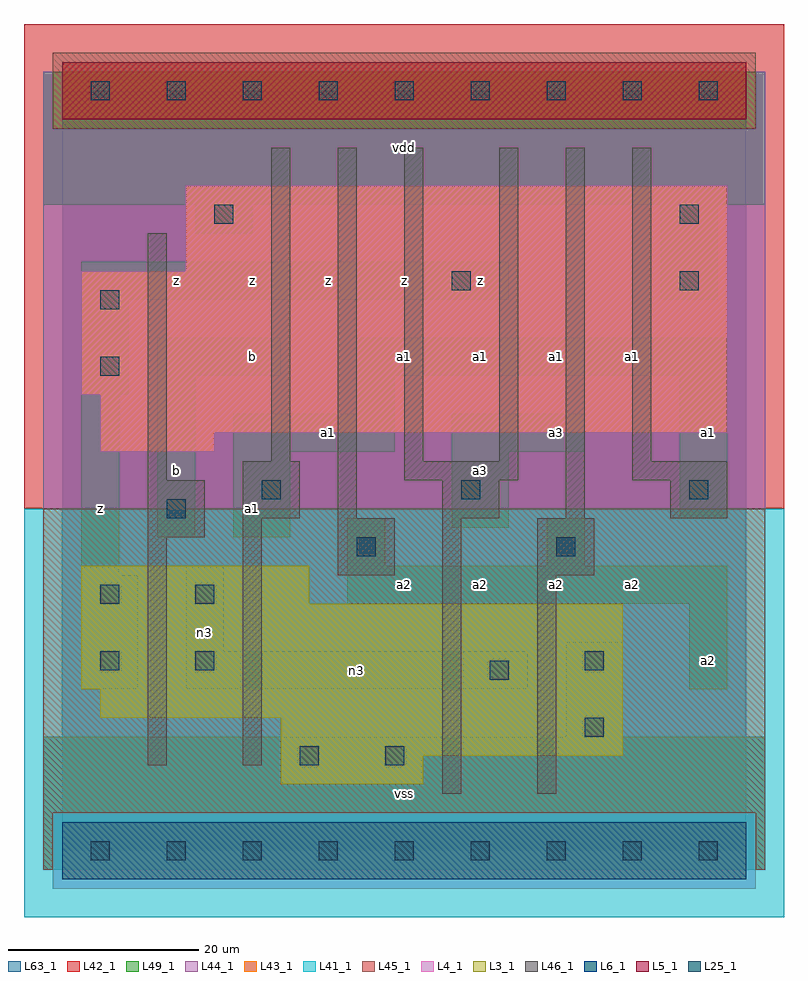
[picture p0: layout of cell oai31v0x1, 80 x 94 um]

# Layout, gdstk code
import gdstk
lib = gdstk.Library(unit=1e-6, precision=1e-09)
def R(c, l, rs):  # rectangles x0, y0, x1, y1
    for r in rs: c.add(gdstk.rectangle(r[:2], r[2:], *l))
def A(c, l, x, y, w, h, nx, ny, dx, dy):  # array of equal rectangles
    R(c, l, [(x+i*dx, y+j*dy, x+i*dx+w, y+j*dy+h) for i in range(nx) for j in range(ny)])
L3_1 = (3, 1)
L4_1 = (4, 1)
L5_1 = (5, 1)
L6_1 = (6, 1)
L25_1 = (25, 1)
L41_1 = (41, 1)
L42_1 = (42, 1)
L43_1 = (43, 1)
L44_1 = (44, 1)
L45_1 = (45, 1)
L46_1 = (46, 1)
L49_1 = (49, 1)
L63_1 = (63, 1)

oai31v0x1 = lib.new_cell('oai31v0x1')
R(oai31v0x1, L3_1, [(23,7,38,10), (23,10,59,14), (4,14,59,17), (2,17,59,26), (2,26,26,30)])
R(oai31v0x1, L4_1, [(4,42,16,44), (4,44,70,48), (2,48,70,61), (13,61,70,70)])
R(oai31v0x1, L5_1, [(0,77,72,83)])
R(oai31v0x1, L6_1, [(0,-3,72,3), (0,-3,72,3)])
A(oai31v0x1, L25_1, 3, -1, 2, 2, 9, 2, 8, 80)
R(oai31v0x1, L25_1, [(25,9,27,11), (34,9,36,11), (55,12,57,14), (45,18,47,20), (4,19,6,21), (14,19,16,21), (55,19,57,21), (4,26,6,28), (14,26,16,28), (31,31,33,33), (52,31,54,33), (11,35,13,37), (21,37,23,39), (42,37,44,39), (66,37,68,39), (4,50,6,52), (4,57,6,59), (41,59,43,61), (65,59,67,61), (16,66,18,68), (65,66,67,68)])
R(oai31v0x1, L41_1, [(-4,-7,76,36)])
R(oai31v0x1, L42_1, [(-4,36,76,87)])
R(oai31v0x1, L43_1, [(0,-3,72,3), (23,7,38,10), (23,10,59,14), (4,14,59,17), (2,17,59,26), (2,26,26,30), (4,42,16,44), (4,44,70,48), (2,48,70,61), (13,61,70,70), (0,77,72,83)])
R(oai31v0x1, L44_1, [(-1,-4,73,4), (-2,36,74,76), (-2,76,-1,82), (73,76,74,82)])
R(oai31v0x1, L45_1, [(-2,-2,-1,4), (73,-2,74,4), (-2,4,74,36), (-1,76,73,84)])
R(oai31v0x1, L46_1, [(40,6,42,35), (50,6,52,29), (9,9,11,33), (19,9,21,35), (29,29,35,35), (50,29,56,35), (9,33,15,39), (19,35,25,41), (29,35,31,74), (40,35,46,39), (53,35,55,74), (64,35,70,39), (9,39,11,65), (36,39,48,41), (60,39,70,41), (22,41,24,74), (36,41,38,74), (46,41,48,74), (60,41,62,74)])
R(oai31v0x1, L49_1, [(-2,-2,74,12), (53,12,59,22), (2,17,8,29), (13,17,49,21), (66,17,70,26), (13,21,17,30), (30,26,70,30), (2,29,6,48), (30,30,34,35), (51,30,55,35), (10,33,14,50), (18,33,24,42), (41,34,47,42), (65,35,70,50), (18,42,35,46), (41,42,55,46), (31,46,35,50), (2,48,7,58), (10,50,23,54), (31,50,70,54), (2,58,47,62), (63,58,69,68), (14,65,20,68), (-2,68,74,82)])
R(oai31v0x1, L63_1, [(0,0,72,80)])
oai31v0x1.add(gdstk.Label('z', (4,36), layer=49, texttype=1))
oai31v0x1.add(gdstk.Label('n3', (15,23), layer=49, texttype=1))
oai31v0x1.add(gdstk.Label('b', (12,40), layer=49, texttype=1))
oai31v0x1.add(gdstk.Label('a1', (20,36), layer=49, texttype=1))
oai31v0x1.add(gdstk.Label('b', (20,52), layer=49, texttype=1))
oai31v0x1.add(gdstk.Label('z', (12,60), layer=49, texttype=1))
oai31v0x1.add(gdstk.Label('z', (20,60), layer=49, texttype=1))
oai31v0x1.add(gdstk.Label('vss', (36,6), layer=49, texttype=1))
oai31v0x1.add(gdstk.Label('a2', (36,28), layer=49, texttype=1))
oai31v0x1.add(gdstk.Label('a1', (28,44), layer=49, texttype=1))
oai31v0x1.add(gdstk.Label('a1', (36,52), layer=49, texttype=1))
oai31v0x1.add(gdstk.Label('z', (28,60), layer=49, texttype=1))
oai31v0x1.add(gdstk.Label('z', (36,60), layer=49, texttype=1))
oai31v0x1.add(gdstk.Label('vdd', (36,74), layer=49, texttype=1))
oai31v0x1.add(gdstk.Label('a2', (44,28), layer=49, texttype=1))
oai31v0x1.add(gdstk.Label('n3', (31,19), layer=49, texttype=1))
oai31v0x1.add(gdstk.Label('a2', (52,28), layer=49, texttype=1))
oai31v0x1.add(gdstk.Label('a3', (44,40), layer=49, texttype=1))
oai31v0x1.add(gdstk.Label('a3', (52,44), layer=49, texttype=1))
oai31v0x1.add(gdstk.Label('a1', (52,52), layer=49, texttype=1))
oai31v0x1.add(gdstk.Label('a1', (44,52), layer=49, texttype=1))
oai31v0x1.add(gdstk.Label('z', (44,60), layer=49, texttype=1))
oai31v0x1.add(gdstk.Label('a2', (60,28), layer=49, texttype=1))
oai31v0x1.add(gdstk.Label('a2', (68,20), layer=49, texttype=1))
oai31v0x1.add(gdstk.Label('a1', (68,44), layer=49, texttype=1))
oai31v0x1.add(gdstk.Label('a1', (60,52), layer=49, texttype=1))

lib.write_gds('oai31v0x1.gds')
